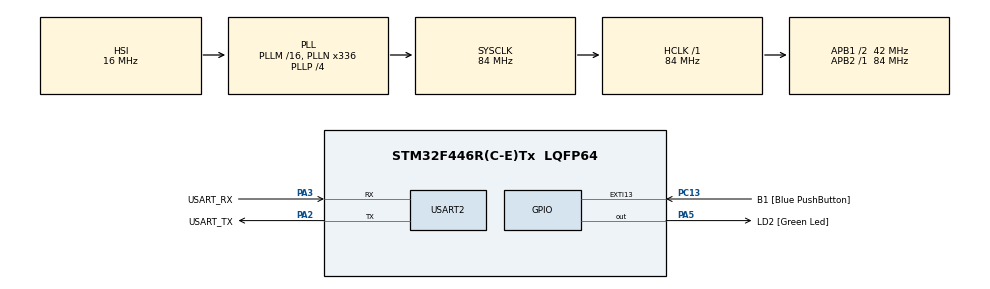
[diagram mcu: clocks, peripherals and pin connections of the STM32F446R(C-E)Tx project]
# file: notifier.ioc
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FREERTOS.Queues01=cmdQueue,4,LedCmd_t,0,Dynamic,NULL,NULL
FREERTOS.Tasks01=ledTask,24,128,startLedTask,Default,NULL,Dynamic,NULL,NULL;cmdTask,8,128,startCmdTask,Default,NULL,Dynamic,NULL,NULL
FREERTOS.configUSE_NEWLIB_REENTRANT=1
Mcu.Family=STM32F4
Mcu.Name=STM32F446R(C-E)Tx
Mcu.Package=LQFP64
NVIC.PriorityGroup=NVIC_PRIORITYGROUP_4
NVIC.TIM5_IRQn=true\:15\:0\:false\:false\:true\:false\:false\:true\:true
NVIC.TimeBase=TIM5_IRQn
NVIC.TimeBaseIP=TIM5
NVIC.USART2_IRQn=true\:5\:0\:false\:false\:true\:true\:true\:true\:true
PA13.GPIO_Label=TMS
PA13.Signal=SYS_JTMS-SWDIO
PA14.GPIO_Label=TCK
PA14.Signal=SYS_JTCK-SWCLK
PA2.GPIO_Label=USART_TX
PA2.GPIO_PuPd=GPIO_PULLUP
PA2.Mode=Asynchronous
PA2.Signal=USART2_TX
PA3.GPIO_Label=USART_RX
PA3.GPIO_PuPd=GPIO_PULLDOWN
PA3.Mode=Asynchronous
PA3.Signal=USART2_RX
PA5.GPIO_Label=LD2 [Green Led]
PA5.GPIO_PuPd=GPIO_NOPULL
PA5.Signal=GPIO_Output
PB3.GPIO_Label=SWO
PB3.Signal=SYS_JTDO-SWO
PC13.GPIO_Label=B1 [Blue PushButton]
PC13.GPIO_ModeDefaultEXTI=GPIO_MODE_IT_FALLING
PC13.Signal=GPXTI13
PC14-OSC32_IN.Signal=RCC_OSC32_IN
PC15-OSC32_OUT.Signal=RCC_OSC32_OUT
PH0-OSC_IN.Signal=RCC_OSC_IN
PH1-OSC_OUT.Signal=RCC_OSC_OUT
ProjectManager.HeapSize=0x200
ProjectManager.StackSize=0x400
ProjectManager.TargetToolchain=STM32CubeIDE
RCC.AHBFreq_Value=84000000
RCC.APB1CLKDivider=RCC_HCLK_DIV2
RCC.APB1Freq_Value=42000000
RCC.APB1TimFreq_Value=84000000
RCC.APB2Freq_Value=84000000
RCC.APB2TimFreq_Value=84000000
RCC.CortexFreq_Value=84000000
RCC.FLatency-AdvancedSettings=FLASH_LATENCY_2
RCC.HCLKFreq_Value=84000000
RCC.HSE_VALUE=8000000
RCC.HSI_VALUE=16000000
RCC.LSE_VALUE=32768
RCC.PLLN=336
RCC.PLLP=RCC_PLLP_DIV4
RCC.SYSCLKFreq_VALUE=84000000
RCC.SYSCLKSource=RCC_SYSCLKSOURCE_PLLCLK
RCC.USBFreq_Value=168000000
RCC.VCOOutputFreq_Value=336000000
USART2.VirtualMode=VM_ASYNC
VP_FREERTOS_VS_CMSIS_V2.Mode=CMSIS_V2
VP_SYS_VS_tim5.Mode=TIM5
board=NUCLEO-F446RE

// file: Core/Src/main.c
/* USER CODE BEGIN Header */
/**
  ******************************************************************************
  * @file           : main.c
  * @brief          : Main program body
  ******************************************************************************
  * @attention
  *
  * Copyright (c) 2024 STMicroelectronics.
  * All rights reserved.
  *
  * This software is licensed under terms that can be found in the LICENSE file
  * in the root directory of this software component.
  * If no LICENSE file comes with this software, it is provided AS-IS.
  *
  ******************************************************************************
  */
/* USER CODE END Header */
#include "main.h"
#include "cmsis_os.h"

/* USER CODE BEGIN Includes */
#include <stdio.h>
#include <string.h>
#include <stdlib.h>
/* USER CODE END Includes */

/* USER CODE BEGIN PTD */
typedef enum {
	ON,OFF,TOGGLE
}LedCmdType_t;
typedef struct {
	LedCmdType_t cmd;
	int period_ms;
}LedCmd_t;

/* USER CODE END PTD */

UART_HandleTypeDef huart2;

/* Definitions for ledTask */
osThreadId_t ledTaskHandle;
const osThreadAttr_t ledTask_attributes = {
  .name = "ledTask",
  .stack_size = 128 * 4,
  .priority = (osPriority_t) osPriorityNormal,
};
/* Definitions for cmdTask */
osThreadId_t cmdTaskHandle;
const osThreadAttr_t cmdTask_attributes = {
  .name = "cmdTask",
  .stack_size = 128 * 4,
  .priority = (osPriority_t) osPriorityLow,
};
/* Definitions for cmdQueue */
osMessageQueueId_t cmdQueueHandle;
const osMessageQueueAttr_t cmdQueue_attributes = {
  .name = "cmdQueue"
};
/* USER CODE BEGIN PV */
uint8_t buf;

/* USER CODE END PV */

void SystemClock_Config(void);
static void MX_GPIO_Init(void);
static void MX_USART2_UART_Init(void);
void startLedTask(void *argument);
void startCmdTask(void *argument);

/* USER CODE BEGIN PFP */
int __io_putchar(int ch);
void uart2_write(int ch);
void uart2_print(char * str);
void process_command(char *cmd);
void clear_input(char * cmd, int *index);

/* USER CODE END PFP */

int main(void)
{

  /* MCU Configuration--------------------------------------------------------*/

  /* Reset of all peripherals, Initializes the Flash interface and the Systick. */
  HAL_Init();

  /* Configure the system clock */
  SystemClock_Config();

  /* Initialize all configured peripherals */
  MX_GPIO_Init();
  MX_USART2_UART_Init();
  /* USER CODE BEGIN 2 */

  //HAL_UART_Receive_IT(&huart2, &buf, 1);

  /* USER CODE END 2 */

  /* Init scheduler */
  osKernelInitialize();

  /* Create the queue(s) */
  /* creation of cmdQueue */
  cmdQueueHandle = osMessageQueueNew (4, sizeof(LedCmd_t), &cmdQueue_attributes);

  /* Create the thread(s) */
  /* creation of ledTask */
  ledTaskHandle = osThreadNew(startLedTask, NULL, &ledTask_attributes);

  /* creation of cmdTask */
  cmdTaskHandle = osThreadNew(startCmdTask, NULL, &cmdTask_attributes);

  /* Start scheduler */
  osKernelStart();

  /* We should never get here as control is now taken by the scheduler */

  /* Infinite loop */
  while (1)
  {

  }
}

void SystemClock_Config(void)
{
  RCC_OscInitTypeDef RCC_OscInitStruct = {0};
  RCC_ClkInitTypeDef RCC_ClkInitStruct = {0};

  /** Configure the main internal regulator output voltage
  */
  __HAL_RCC_PWR_CLK_ENABLE();
  __HAL_PWR_VOLTAGESCALING_CONFIG(PWR_REGULATOR_VOLTAGE_SCALE3);

  /** Initializes the RCC Oscillators according to the specified parameters
  * in the RCC_OscInitTypeDef structure.
  */
  RCC_OscInitStruct.OscillatorType = RCC_OSCILLATORTYPE_HSI;
  RCC_OscInitStruct.HSIState = RCC_HSI_ON;
  RCC_OscInitStruct.HSICalibrationValue = RCC_HSICALIBRATION_DEFAULT;
  RCC_OscInitStruct.PLL.PLLState = RCC_PLL_ON;
  RCC_OscInitStruct.PLL.PLLSource = RCC_PLLSOURCE_HSI;
  RCC_OscInitStruct.PLL.PLLM = 16;
  RCC_OscInitStruct.PLL.PLLN = 336;
  RCC_OscInitStruct.PLL.PLLP = RCC_PLLP_DIV4;
  RCC_OscInitStruct.PLL.PLLQ = 2;
  RCC_OscInitStruct.PLL.PLLR = 2;
  if (HAL_RCC_OscConfig(&RCC_OscInitStruct) != HAL_OK)
  {
    Error_Handler();
  }

  /** Initializes the CPU, AHB and APB buses clocks
  */
  RCC_ClkInitStruct.ClockType = RCC_CLOCKTYPE_HCLK|RCC_CLOCKTYPE_SYSCLK
                              |RCC_CLOCKTYPE_PCLK1|RCC_CLOCKTYPE_PCLK2;
  RCC_ClkInitStruct.SYSCLKSource = RCC_SYSCLKSOURCE_PLLCLK;
  RCC_ClkInitStruct.AHBCLKDivider = RCC_SYSCLK_DIV1;
  RCC_ClkInitStruct.APB1CLKDivider = RCC_HCLK_DIV2;
  RCC_ClkInitStruct.APB2CLKDivider = RCC_HCLK_DIV1;

  if (HAL_RCC_ClockConfig(&RCC_ClkInitStruct, FLASH_LATENCY_2) != HAL_OK)
  {
    Error_Handler();
  }
}

static void MX_USART2_UART_Init(void)
{

  huart2.Instance = USART2;
  huart2.Init.BaudRate = 115200;
  huart2.Init.WordLength = UART_WORDLENGTH_8B;
  huart2.Init.StopBits = UART_STOPBITS_1;
  huart2.Init.Parity = UART_PARITY_NONE;
  huart2.Init.Mode = UART_MODE_TX_RX;
  huart2.Init.HwFlowCtl = UART_HWCONTROL_NONE;
  huart2.Init.OverSampling = UART_OVERSAMPLING_16;
  if (HAL_UART_Init(&huart2) != HAL_OK)
  {
    Error_Handler();
  }

}

static void MX_GPIO_Init(void)
{
  GPIO_InitTypeDef GPIO_InitStruct = {0};

  /* GPIO Ports Clock Enable */
  __HAL_RCC_GPIOC_CLK_ENABLE();
  __HAL_RCC_GPIOH_CLK_ENABLE();
  __HAL_RCC_GPIOA_CLK_ENABLE();
  __HAL_RCC_GPIOB_CLK_ENABLE();

  /*Configure GPIO pin Output Level */
  HAL_GPIO_WritePin(LD2_GPIO_Port, LD2_Pin, GPIO_PIN_RESET);

  /*Configure GPIO pin : B1_Pin */
  GPIO_InitStruct.Pin = B1_Pin;
  GPIO_InitStruct.Mode = GPIO_MODE_IT_FALLING;
  GPIO_InitStruct.Pull = GPIO_NOPULL;
  HAL_GPIO_Init(B1_GPIO_Port, &GPIO_InitStruct);

  /*Configure GPIO pin : LD2_Pin */
  GPIO_InitStruct.Pin = LD2_Pin;
  GPIO_InitStruct.Mode = GPIO_MODE_OUTPUT_PP;
  GPIO_InitStruct.Pull = GPIO_NOPULL;
  GPIO_InitStruct.Speed = GPIO_SPEED_FREQ_LOW;
  HAL_GPIO_Init(LD2_GPIO_Port, &GPIO_InitStruct);

}

/* USER CODE BEGIN 4 */
void clear_input(char * cmd, int *index)
{
	*index = 0;
	memset(cmd, 0, 5);
}
void process_command(char *cmd){
	int ms = atoi(cmd);
	LedCmd_t ledcmd;

	if(!strcmp(cmd, "on")){
		ledcmd.cmd = ON;
		ledcmd.period_ms = 1000;
		osMessageQueuePut(cmdQueueHandle, &ledcmd, 0U, 0U);
	}else if(!strcmp(cmd, "off")){
		ledcmd.cmd = OFF;
		ledcmd.period_ms = 1000;
		osMessageQueuePut(cmdQueueHandle, &ledcmd, 0U, 0U);
	}else if(0 < ms){
		ledcmd.cmd = TOGGLE;
		ledcmd.period_ms = ms;
		osMessageQueuePut(cmdQueueHandle, &ledcmd, 0U, 0U);
	}
}
void handle_input(int ch)
{

	static char cmd[5];
	static int index = 0;
	char output[32];

	uart2_write(ch);

	if('\r' == ch)
	{
		sprintf(output, "command : %s!\r\n", cmd);
		uart2_print(output);
		process_command(cmd);
		clear_input(cmd, &index);
	}else if(index > 4){
		clear_input(cmd, &index);
		cmd[index++] = ch;
	}else {
		cmd[index++] = ch;
	}
}

void HAL_UART_RxCpltCallback(UART_HandleTypeDef *huart)
{
  /* Prevent unused argument(s) compilation warning */
//  UNUSED(huart);

	if(huart->Instance == huart2.Instance)
	{
		handle_input(buf);
		HAL_UART_Receive_IT(&huart2, &buf, 1);
	}

}
void uart2_print(char * str)
{
	HAL_UART_Transmit(&huart2, (const uint8_t *)str, strlen(str),100);
}

void uart2_write(int ch)
{
	HAL_UART_Transmit(&huart2, (const uint8_t *)&ch, 1,100);
}

int __io_putchar(int ch)
{
	uart2_write(ch);
	return ch;
}
/* USER CODE END 4 */

void startLedTask(void *argument)
{
  /* USER CODE BEGIN 5 */
	TickType_t wakeTime;
	wakeTime = xTaskGetTickCount();
	LedCmd_t ledcmd;
	ledcmd.cmd = TOGGLE;
	ledcmd.period_ms = 250;
	LedCmd_t tmp;

  /* Infinite loop */
  for(;;)
  {
	  osStatus_t status = osMessageQueueGet(cmdQueueHandle, &tmp, NULL, 0U);
	  if(status == osOK){
		  memcpy(&ledcmd, &tmp, sizeof(LedCmd_t));
	  }

	  switch(ledcmd.cmd){
		  case ON:
			  HAL_GPIO_WritePin(LD2_GPIO_Port, LD2_Pin, GPIO_PIN_SET);
			  break;
		  case OFF:
			  HAL_GPIO_WritePin(LD2_GPIO_Port, LD2_Pin, GPIO_PIN_RESET);
			  break;
		  case TOGGLE:
			  HAL_GPIO_TogglePin(LD2_GPIO_Port, LD2_Pin);
			  break;
	  }

	  vTaskDelayUntil(&wakeTime, pdMS_TO_TICKS( ledcmd.period_ms ));

//	  osDelay(1);
  }
  /* USER CODE END 5 */
}

void startCmdTask(void *argument)
{
  /* USER CODE BEGIN startCmdTask */
	HAL_UART_Receive_IT(&huart2, &buf, 1);
  /* Infinite loop */
  for(;;)
  {
    osDelay(1);
  }
  /* USER CODE END startCmdTask */
}

void HAL_TIM_PeriodElapsedCallback(TIM_HandleTypeDef *htim)
{
  if (htim->Instance == TIM5) {
    HAL_IncTick();
  }
}

void Error_Handler(void)
{
  __disable_irq();
  while (1)
  {
  }
}
